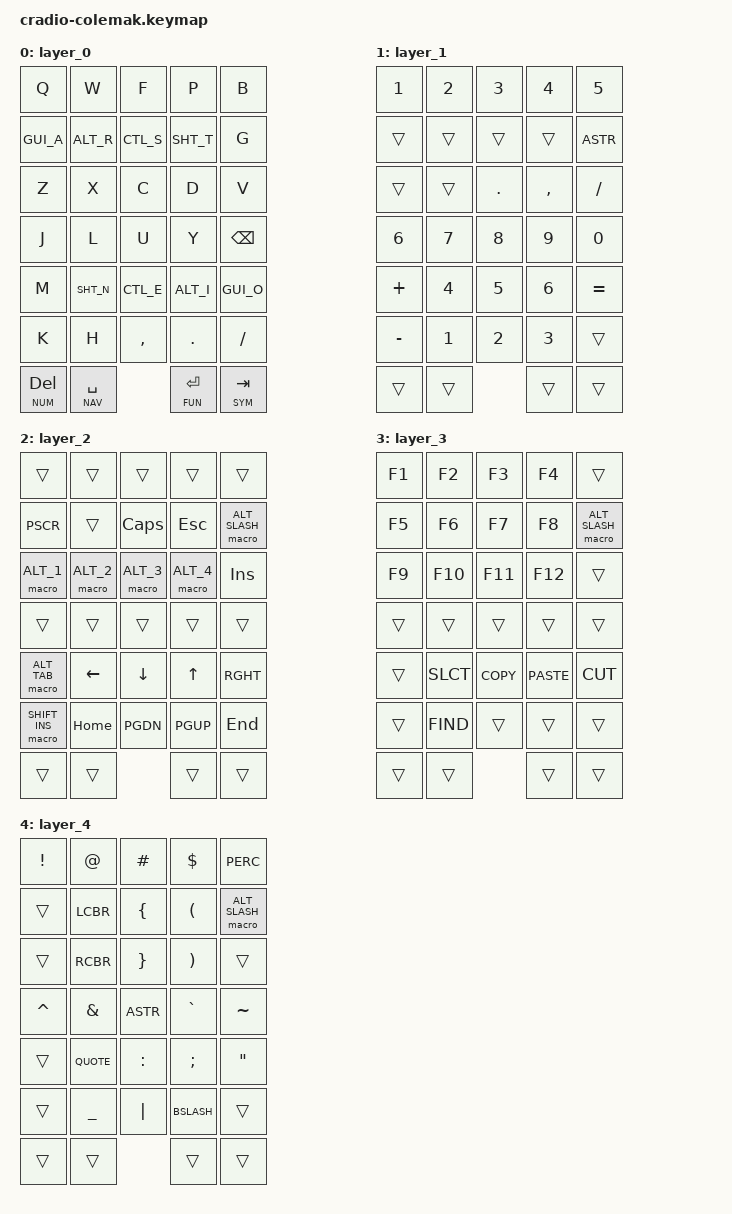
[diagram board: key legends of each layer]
/ {
  keymap {
    compatible = "zmk,keymap";

    macros {
      ALT_SLASH {
        bindings = <&kp SLASH &kp LALT>;
      };
      ALT_TAB {
        bindings = <&kp TAB &kp LALT>;
      };
      SHIFT_INS {
        bindings = <&kp INS &kp LSHFT>;
      };
      ALT_1 {
        bindings = <&kp 1 &kp LALT>;
      };
      ALT_2 {
        bindings = <&kp 2 &kp LALT>;
      };
      ALT_3 {
        bindings = <&kp 3 &kp LALT>;
      };
      ALT_4 {
        bindings = <&kp 4 &kp LALT>;
      };
    };

    layer_0 {
      bindings = <
        &kp Q       &kp W       &kp F       &kp P       &kp B
        &kp GUI_A   &kp ALT_R   &kp CTL_S   &kp SHT_T   &kp G
        &kp Z       &kp X       &kp C       &kp D       &kp V

        &kp J       &kp L       &kp U       &kp Y       &kp BSPC
        &kp M       &kp SHT_N   &kp CTL_E   &kp ALT_I   &kp GUI_O
        &kp K       &kp H       &kp COMMA   &kp DOT     &kp SLASH

        &lt NUM DEL   &lt NAV SPACE &lt FUN ENTER  &lt SYM TAB
      >;
    };

    layer_1 {
      bindings = <
        &kp 1       &kp 2       &kp 3       &kp 4       &kp 5
        &trans      &trans      &trans      &trans      &kp ASTR
        &trans      &trans      &kp DOT     &kp COMMA   &kp SLASH

        &kp 6       &kp 7       &kp 8       &kp 9       &kp 0
        &kp PLUS    &kp 4       &kp 5       &kp 6       &kp EQUAL
        &kp MINUS   &kp 1       &kp 2       &kp 3       &trans

        &trans      &trans      &trans      &trans
      >;
    };

    layer_2 {
      bindings = <
        &trans      &trans      &trans      &trans      &trans
        &kp PSCR    &trans      &kp CAPS    &kp ESC     &macro ALT_SLASH
        &macro ALT_1 &macro ALT_2 &macro ALT_3 &macro ALT_4 &kp INS

        &trans      &trans      &trans      &trans      &trans
        &macro ALT_TAB &kp LEFT &kp DOWN   &kp UP      &kp RGHT
        &macro SHIFT_INS &kp HOME &kp PGDN &kp PGUP   &kp END

        &trans      &trans      &trans      &trans
      >;
    };

    layer_3 {
      bindings = <
        &kp F1      &kp F2      &kp F3      &kp F4      &trans
        &kp F5      &kp F6      &kp F7      &kp F8      &macro ALT_SLASH
        &kp F9      &kp F10     &kp F11     &kp F12     &trans

        &trans      &trans      &trans      &trans      &trans
        &trans      &kp SLCT    &kp COPY    &kp PASTE   &kp CUT
        &trans      &kp FIND    &trans      &trans      &trans

        &trans      &trans      &trans      &trans
      >;
    };

    layer_4 {
      bindings = <
        &kp EXCL    &kp AT      &kp HASH    &kp DOLLAR  &kp PERC
        &trans      &kp LCBR    &kp LBRC    &kp LPAR    &macro ALT_SLASH
        &trans      &kp RCBR    &kp RBRC    &kp RPAR    &trans

        &kp CARET   &kp AMPS    &kp ASTR    &kp GRAVE   &kp TILDE
        &trans      &kp QUOTE   &kp COLON   &kp SEMI    &kp DQT
        &trans      &kp UNDERSCORE &kp PIPE &kp BSLASH &trans

        &trans      &trans      &trans      &trans
      >;
    };
  };
};
